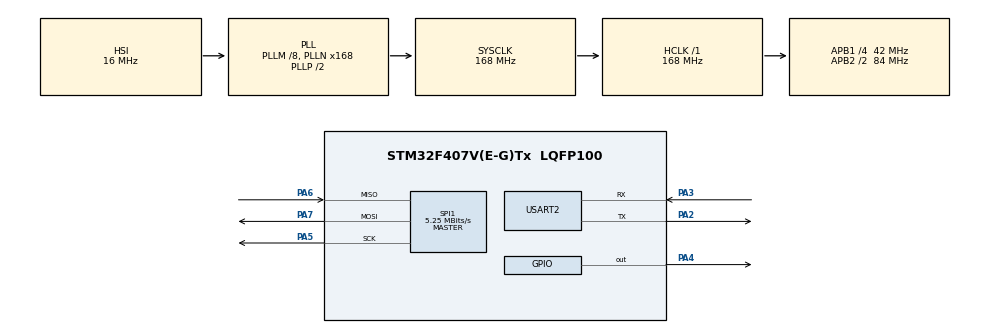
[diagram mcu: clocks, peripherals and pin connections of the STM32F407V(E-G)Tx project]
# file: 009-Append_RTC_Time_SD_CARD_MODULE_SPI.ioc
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Mcu.Family=STM32F4
Mcu.Name=STM32F407V(E-G)Tx
Mcu.Package=LQFP100
NVIC.PriorityGroup=NVIC_PRIORITYGROUP_0
PA2.Mode=Asynchronous
PA2.Signal=USART2_TX
PA3.Mode=Asynchronous
PA3.Signal=USART2_RX
PA4.Signal=GPIO_Output
PA5.Mode=Full_Duplex_Master
PA5.Signal=SPI1_SCK
PA6.Mode=Full_Duplex_Master
PA6.Signal=SPI1_MISO
PA7.Mode=Full_Duplex_Master
PA7.Signal=SPI1_MOSI
ProjectManager.HeapSize=0x200
ProjectManager.StackSize=0x400
ProjectManager.TargetToolchain=STM32CubeIDE
RCC.48MHZClocksFreq_Value=48000000
RCC.AHBFreq_Value=168000000
RCC.APB1CLKDivider=RCC_HCLK_DIV4
RCC.APB1Freq_Value=42000000
RCC.APB1TimFreq_Value=84000000
RCC.APB2CLKDivider=RCC_HCLK_DIV2
RCC.APB2Freq_Value=84000000
RCC.APB2TimFreq_Value=168000000
RCC.CortexFreq_Value=168000000
RCC.HCLKFreq_Value=168000000
RCC.HSE_VALUE=8000000
RCC.HSI_VALUE=16000000
RCC.PLLM=8
RCC.PLLN=168
RCC.PLLQ=7
RCC.SYSCLKFreq_VALUE=168000000
RCC.SYSCLKSource=RCC_SYSCLKSOURCE_PLLCLK
RCC.VCOOutputFreq_Value=336000000
SPI1.BaudRatePrescaler=SPI_BAUDRATEPRESCALER_16
SPI1.CalculateBaudRate=5.25 MBits/s
SPI1.Direction=SPI_DIRECTION_2LINES
SPI1.Mode=SPI_MODE_MASTER
SPI1.VirtualType=VM_MASTER
USART2.VirtualMode=VM_ASYNC
VP_FATFS_VS_Generic.Mode=User_defined
VP_RTC_VS_RTC_Activate.Mode=RTC_Enabled
board=STM32F407G-DISC1

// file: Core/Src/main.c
/* USER CODE BEGIN Header */
/**
  ******************************************************************************
  * @file           : main.c
  * @brief          : Main program body
  ******************************************************************************
  * @attention
  *
  * Copyright (c) 2025 STMicroelectronics.
  * All rights reserved.
  *
  * This software is licensed under terms that can be found in the LICENSE file
  * in the root directory of this software component.
  * If no LICENSE file comes with this software, it is provided AS-IS.
  *
  ******************************************************************************
  */
/* USER CODE END Header */
#include "main.h"
#include "fatfs.h"

/* USER CODE BEGIN Includes */
#include <stdio.h>
#include <string.h>

#define SD_CS_PIN GPIO_PIN_4
#define SD_CS_GPIO_PORT GPIOA

/* USER CODE END Includes */

RTC_HandleTypeDef hrtc;

SPI_HandleTypeDef hspi1;

UART_HandleTypeDef huart2;

void SystemClock_Config(void);
static void MX_GPIO_Init(void);
static void MX_SPI1_Init(void);
static void MX_RTC_Init(void);
static void MX_USART2_UART_Init(void);

/* USER CODE BEGIN 0 */

#ifdef __GNUC__
/* With GCC, small printf (nano version) calls __io_putchar() */
#define PUTCHAR_PROTOTYPE int __io_putchar(int ch)
#else
#define PUTCHAR_PROTOTYPE int fputc(int ch, FILE *f)
#endif

PUTCHAR_PROTOTYPE
{
    HAL_UART_Transmit(&huart2, (uint8_t *)&ch, 1, HAL_MAX_DELAY);
    return ch;
}

void LogRTCtoFile(void)
{
    FATFS fs;
    FIL myFile;
    RTC_TimeTypeDef sTime;
    RTC_DateTypeDef sDate;
    char buffer[64];
    UINT bw;

    if(f_mount(&fs, "", 1) != FR_OK) {
        printf("SD mount failed!\r\n");
        return;
    }

    HAL_RTC_GetTime(&hrtc, &sTime, RTC_FORMAT_BIN);
    HAL_RTC_GetDate(&hrtc, &sDate, RTC_FORMAT_BIN);

    sprintf(buffer, "Date: %02d-%02d-%02d Time: %02d:%02d:%02d\r\n",
            sDate.Date, sDate.Month, sDate.Year,
            sTime.Hours, sTime.Minutes, sTime.Seconds);

    if(f_open(&myFile, "log.txt", FA_OPEN_ALWAYS | FA_WRITE) == FR_OK) {
        f_lseek(&myFile, f_size(&myFile)); // append
        f_write(&myFile, buffer, strlen(buffer), &bw);
        f_close(&myFile);
        printf("%s", buffer);
    } else {
        printf("Failed to open file!\r\n");
    }
}
/* USER CODE END 0 */

int main(void)
{

  /* MCU Configuration--------------------------------------------------------*/

  /* Reset of all peripherals, Initializes the Flash interface and the Systick. */
  HAL_Init();

  /* Configure the system clock */
  SystemClock_Config();

  /* Initialize all configured peripherals */
  MX_GPIO_Init();
  MX_SPI1_Init();
  MX_RTC_Init();
  MX_USART2_UART_Init();
  MX_FATFS_Init();
  /* USER CODE BEGIN 2 */
  FATFS fs;
  FIL myFile;

  if(f_mount(&fs, "", 1) == FR_OK) {
      printf("SD mounted successfully!\r\n");
  } else {
      printf("SD mount failed!\r\n");
  }
  RTC_TimeTypeDef sTime;
  RTC_DateTypeDef sDate;
  char buffer[64];
  UINT bw;

  HAL_RTC_GetTime(&hrtc, &sTime, RTC_FORMAT_BIN);
  HAL_RTC_GetDate(&hrtc, &sDate, RTC_FORMAT_BIN);

  sprintf(buffer, "Date: %02d-%02d-%02d Time: %02d:%02d:%02d\r\n",
          sDate.Date, sDate.Month, sDate.Year,
          sTime.Hours, sTime.Minutes, sTime.Seconds);

  if(f_open(&myFile, "log.txt", FA_OPEN_ALWAYS | FA_WRITE) == FR_OK) {
      f_lseek(&myFile, f_size(&myFile)); // append
      f_write(&myFile, buffer, strlen(buffer), &bw);
      f_close(&myFile);
      printf("%s", buffer);
  } else {
      printf("Failed to open file!\r\n");
  }

  /* USER CODE END 2 */

  /* Infinite loop */
  /* USER CODE BEGIN WHILE */
  while (1)
  {
	    LogRTCtoFile(); // function containing the code above
	    HAL_Delay(1000); // every 1 second
    /* USER CODE END WHILE */

  }
}

void SystemClock_Config(void)
{
  RCC_OscInitTypeDef RCC_OscInitStruct = {0};
  RCC_ClkInitTypeDef RCC_ClkInitStruct = {0};

  /** Configure the main internal regulator output voltage
  */
  __HAL_RCC_PWR_CLK_ENABLE();
  __HAL_PWR_VOLTAGESCALING_CONFIG(PWR_REGULATOR_VOLTAGE_SCALE1);

  /** Initializes the RCC Oscillators according to the specified parameters
  * in the RCC_OscInitTypeDef structure.
  */
  RCC_OscInitStruct.OscillatorType = RCC_OSCILLATORTYPE_HSI|RCC_OSCILLATORTYPE_LSI;
  RCC_OscInitStruct.HSIState = RCC_HSI_ON;
  RCC_OscInitStruct.HSICalibrationValue = RCC_HSICALIBRATION_DEFAULT;
  RCC_OscInitStruct.LSIState = RCC_LSI_ON;
  RCC_OscInitStruct.PLL.PLLState = RCC_PLL_ON;
  RCC_OscInitStruct.PLL.PLLSource = RCC_PLLSOURCE_HSI;
  RCC_OscInitStruct.PLL.PLLM = 8;
  RCC_OscInitStruct.PLL.PLLN = 168;
  RCC_OscInitStruct.PLL.PLLP = RCC_PLLP_DIV2;
  RCC_OscInitStruct.PLL.PLLQ = 7;
  if (HAL_RCC_OscConfig(&RCC_OscInitStruct) != HAL_OK)
  {
    Error_Handler();
  }

  /** Initializes the CPU, AHB and APB buses clocks
  */
  RCC_ClkInitStruct.ClockType = RCC_CLOCKTYPE_HCLK|RCC_CLOCKTYPE_SYSCLK
                              |RCC_CLOCKTYPE_PCLK1|RCC_CLOCKTYPE_PCLK2;
  RCC_ClkInitStruct.SYSCLKSource = RCC_SYSCLKSOURCE_PLLCLK;
  RCC_ClkInitStruct.AHBCLKDivider = RCC_SYSCLK_DIV1;
  RCC_ClkInitStruct.APB1CLKDivider = RCC_HCLK_DIV4;
  RCC_ClkInitStruct.APB2CLKDivider = RCC_HCLK_DIV2;

  if (HAL_RCC_ClockConfig(&RCC_ClkInitStruct, FLASH_LATENCY_5) != HAL_OK)
  {
    Error_Handler();
  }
}

static void MX_RTC_Init(void)
{

  /** Initialize RTC Only
  */
  hrtc.Instance = RTC;
  hrtc.Init.HourFormat = RTC_HOURFORMAT_24;
  hrtc.Init.AsynchPrediv = 127;
  hrtc.Init.SynchPrediv = 255;
  hrtc.Init.OutPut = RTC_OUTPUT_DISABLE;
  hrtc.Init.OutPutPolarity = RTC_OUTPUT_POLARITY_HIGH;
  hrtc.Init.OutPutType = RTC_OUTPUT_TYPE_OPENDRAIN;
  if (HAL_RTC_Init(&hrtc) != HAL_OK)
  {
    Error_Handler();
  }

}

static void MX_SPI1_Init(void)
{

  /* SPI1 parameter configuration*/
  hspi1.Instance = SPI1;
  hspi1.Init.Mode = SPI_MODE_MASTER;
  hspi1.Init.Direction = SPI_DIRECTION_2LINES;
  hspi1.Init.DataSize = SPI_DATASIZE_8BIT;
  hspi1.Init.CLKPolarity = SPI_POLARITY_LOW;
  hspi1.Init.CLKPhase = SPI_PHASE_1EDGE;
  hspi1.Init.NSS = SPI_NSS_SOFT;
  hspi1.Init.BaudRatePrescaler = SPI_BAUDRATEPRESCALER_256;
  hspi1.Init.FirstBit = SPI_FIRSTBIT_MSB;
  hspi1.Init.TIMode = SPI_TIMODE_DISABLE;
  hspi1.Init.CRCCalculation = SPI_CRCCALCULATION_DISABLE;
  hspi1.Init.CRCPolynomial = 10;
  if (HAL_SPI_Init(&hspi1) != HAL_OK)
  {
    Error_Handler();
  }

}

static void MX_USART2_UART_Init(void)
{

  huart2.Instance = USART2;
  huart2.Init.BaudRate = 115200;
  huart2.Init.WordLength = UART_WORDLENGTH_8B;
  huart2.Init.StopBits = UART_STOPBITS_1;
  huart2.Init.Parity = UART_PARITY_NONE;
  huart2.Init.Mode = UART_MODE_TX_RX;
  huart2.Init.HwFlowCtl = UART_HWCONTROL_NONE;
  huart2.Init.OverSampling = UART_OVERSAMPLING_16;
  if (HAL_UART_Init(&huart2) != HAL_OK)
  {
    Error_Handler();
  }

}

static void MX_GPIO_Init(void)
{
  GPIO_InitTypeDef GPIO_InitStruct = {0};

  /* GPIO Ports Clock Enable */
  __HAL_RCC_GPIOA_CLK_ENABLE();

  /*Configure GPIO pin Output Level */
  HAL_GPIO_WritePin(GPIOA, GPIO_PIN_4, GPIO_PIN_RESET);

  /*Configure GPIO pin : PA4 */
  GPIO_InitStruct.Pin = GPIO_PIN_4;
  GPIO_InitStruct.Mode = GPIO_MODE_OUTPUT_PP;
  GPIO_InitStruct.Pull = GPIO_NOPULL;
  GPIO_InitStruct.Speed = GPIO_SPEED_FREQ_LOW;
  HAL_GPIO_Init(GPIOA, &GPIO_InitStruct);

}

void Error_Handler(void)
{
  __disable_irq();
  while (1)
  {
  }
}
